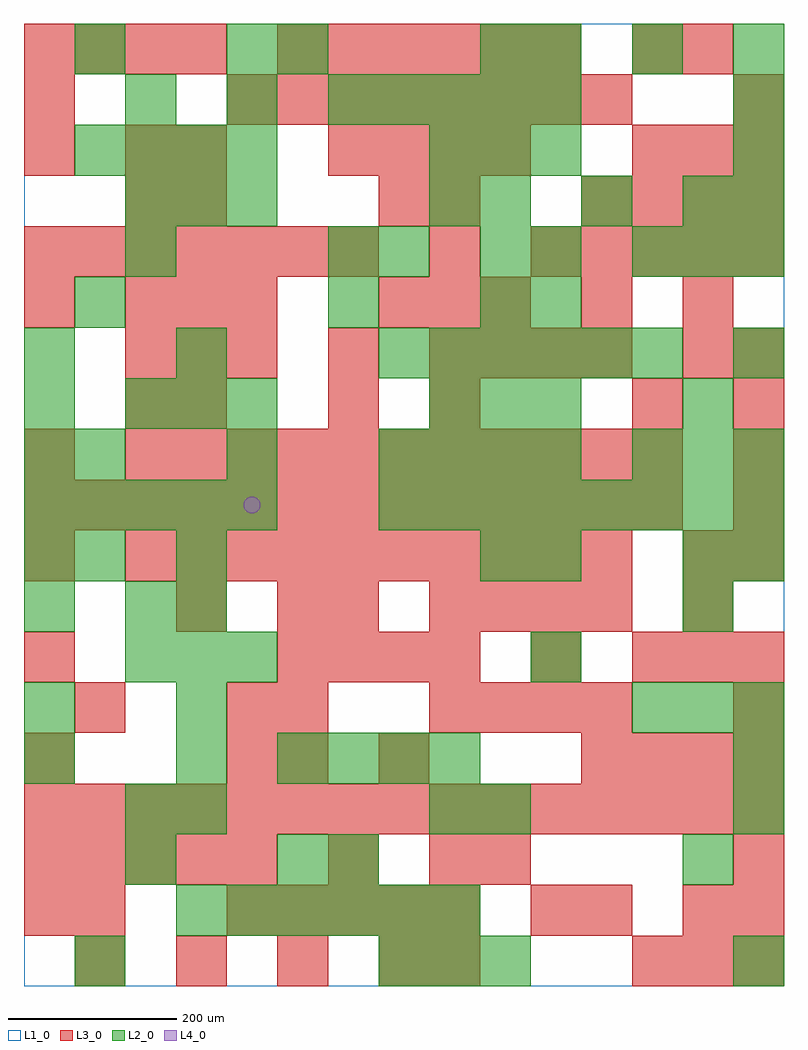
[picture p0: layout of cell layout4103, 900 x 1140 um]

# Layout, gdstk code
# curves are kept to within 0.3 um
import gdstk
lib = gdstk.Library(unit=1e-6, precision=1e-09)
def R(c, l, rs):  # rectangles x0, y0, x1, y1
    for r in rs: c.add(gdstk.rectangle(r[:2], r[2:], *l))
def A(c, l, x, y, w, h, nx, ny, dx, dy):  # array of equal rectangles
    R(c, l, [(x+i*dx, y+j*dy, x+i*dx+w, y+j*dy+h) for i in range(nx) for j in range(ny)])
def P(c, l, *ps):  # polygons
    for p in ps: c.add(gdstk.Polygon(p, *l))
L1_0 = (1, 0)
L2_0 = (2, 0)
L3_0 = (3, 0)
L4_0 = (4, 0)

layout4103 = lib.new_cell('layout4103')
R(layout4103, L1_0, [(0,0,900,1140)])
A(layout4103, L2_0, 420, 0, 60, 60, 3, 1, 60, 0)
A(layout4103, L2_0, 180, 60, 60, 60, 6, 1, 60, 0)
A(layout4103, L2_0, 180, 180, 60, 60, 1, 3, 0, 60)
A(layout4103, L2_0, 540, 180, 60, 60, 1, 3, 0, 300)
A(layout4103, L2_0, 300, 240, 60, 60, 4, 1, 60, 0)
A(layout4103, L2_0, 840, 240, 60, 60, 1, 3, 0, 240)
A(layout4103, L2_0, 720, 300, 60, 60, 3, 2, 60, 300)
A(layout4103, L2_0, 120, 360, 60, 60, 3, 2, 60, 300)
A(layout4103, L2_0, 60, 480, 60, 60, 1, 3, 0, 300)
A(layout4103, L2_0, 0, 540, 60, 60, 5, 1, 60, 0)
A(layout4103, L2_0, 420, 540, 60, 60, 8, 1, 60, 0)
A(layout4103, L2_0, 0, 600, 60, 60, 1, 3, 0, 60)
A(layout4103, L2_0, 60, 600, 60, 60, 3, 1, 180, 0)
A(layout4103, L2_0, 480, 600, 60, 60, 3, 2, 60, 60)
A(layout4103, L2_0, 420, 720, 60, 60, 6, 1, 60, 0)
A(layout4103, L2_0, 720, 840, 60, 60, 3, 1, 60, 0)
A(layout4103, L2_0, 120, 900, 60, 60, 3, 1, 60, 0)
A(layout4103, L2_0, 540, 900, 60, 60, 3, 1, 120, 0)
A(layout4103, L2_0, 840, 900, 60, 60, 1, 3, 0, 60)
A(layout4103, L2_0, 60, 960, 60, 60, 4, 1, 60, 0)
A(layout4103, L2_0, 480, 960, 60, 60, 3, 1, 60, 0)
A(layout4103, L2_0, 120, 1020, 60, 60, 3, 1, 120, 0)
A(layout4103, L2_0, 420, 1020, 60, 60, 4, 1, 60, 0)
A(layout4103, L2_0, 600, 1080, 60, 60, 3, 1, 120, 0)
R(layout4103, L2_0, [(60,0,120,60), (840,0,900,60), (120,120,180,180), (300,120,360,180), (360,120,420,180), (780,120,840,180), (120,180,180,240), (480,180,540,240), (840,180,900,240), (0,240,60,300), (0,300,60,360), (600,360,660,420), (0,420,60,480), (120,420,180,480), (180,420,240,480), (780,420,840,480), (0,480,60,540), (180,480,240,540), (600,480,660,540), (780,480,840,540), (780,660,840,720), (180,720,240,780), (360,780,420,840), (600,780,660,840), (120,840,180,900), (360,840,420,900), (420,840,480,900), (540,840,600,900), (600,840,660,900), (480,900,540,960), (240,1080,300,1140), (300,1080,360,1140), (540,1080,600,1140)])
A(layout4103, L3_0, 60, 0, 60, 60, 4, 1, 120, 0)
A(layout4103, L3_0, 720, 0, 60, 60, 3, 2, 60, 360)
A(layout4103, L3_0, 240, 60, 60, 60, 5, 1, 60, 0)
A(layout4103, L3_0, 0, 120, 60, 60, 5, 1, 60, 0)
A(layout4103, L3_0, 840, 120, 60, 60, 1, 3, 0, 180)
A(layout4103, L3_0, 0, 180, 60, 60, 15, 1, 60, 0)
A(layout4103, L3_0, 0, 240, 60, 60, 1, 4, 0, 120)
A(layout4103, L3_0, 660, 240, 60, 60, 4, 2, 60, 660)
A(layout4103, L3_0, 480, 300, 60, 60, 4, 2, 60, 120)
A(layout4103, L3_0, 300, 360, 60, 60, 4, 1, 60, 0)
A(layout4103, L3_0, 180, 420, 60, 60, 1, 3, 0, 240)
A(layout4103, L3_0, 120, 480, 60, 60, 10, 1, 60, 0)
A(layout4103, L3_0, 0, 540, 60, 60, 13, 1, 60, 0)
A(layout4103, L3_0, 840, 540, 60, 60, 1, 4, 0, 60)
A(layout4103, L3_0, 120, 600, 60, 60, 11, 1, 60, 0)
A(layout4103, L3_0, 120, 720, 60, 60, 3, 2, 60, 60)
A(layout4103, L3_0, 480, 720, 60, 60, 4, 1, 60, 0)
A(layout4103, L3_0, 420, 780, 60, 60, 3, 1, 60, 0)
A(layout4103, L3_0, 0, 840, 60, 60, 7, 1, 60, 0)
A(layout4103, L3_0, 600, 840, 60, 60, 5, 1, 60, 0)
A(layout4103, L3_0, 360, 960, 60, 60, 4, 1, 60, 0)
A(layout4103, L3_0, 720, 960, 60, 60, 3, 1, 60, 0)
A(layout4103, L3_0, 240, 1020, 60, 60, 8, 1, 60, 0)
A(layout4103, L3_0, 0, 1080, 60, 60, 4, 1, 60, 0)
A(layout4103, L3_0, 300, 1080, 60, 60, 6, 1, 60, 0)
R(layout4103, L3_0, [(480,0,540,60), (0,60,60,120), (60,60,120,120), (600,60,660,120), (660,60,720,120), (780,60,840,120), (840,60,900,120), (360,120,420,180), (480,120,540,180), (540,120,600,180), (240,240,300,300), (300,240,360,300), (420,240,480,300), (60,300,120,360), (240,300,300,360), (300,300,360,360), (600,360,660,420), (300,420,360,480), (360,420,420,480), (780,420,840,480), (780,480,840,540), (120,660,180,720), (360,660,420,720), (480,660,540,720), (720,660,780,720), (360,720,420,780), (780,720,840,780), (0,780,60,840), (660,780,720,840), (780,780,840,840), (480,840,540,900), (120,900,180,960), (420,900,480,960), (480,900,540,960), (0,960,60,1020), (120,960,180,1020), (180,960,240,1020), (0,1020,60,1080), (840,1020,900,1080), (720,1080,780,1140), (780,1080,840,1140)])
P(layout4103, L4_0, [(280,570),(279.239,573.827),(277.071,577.071),(273.827,579.239),(270,580),(266.173,579.239),(262.929,577.071),(260.761,573.827),(260,570),(260.761,566.173),(262.929,562.929),(266.173,560.761),(270,560),(273.827,560.761),(277.071,562.929),(279.239,566.173)])

lib.write_gds('layout4103.gds')
